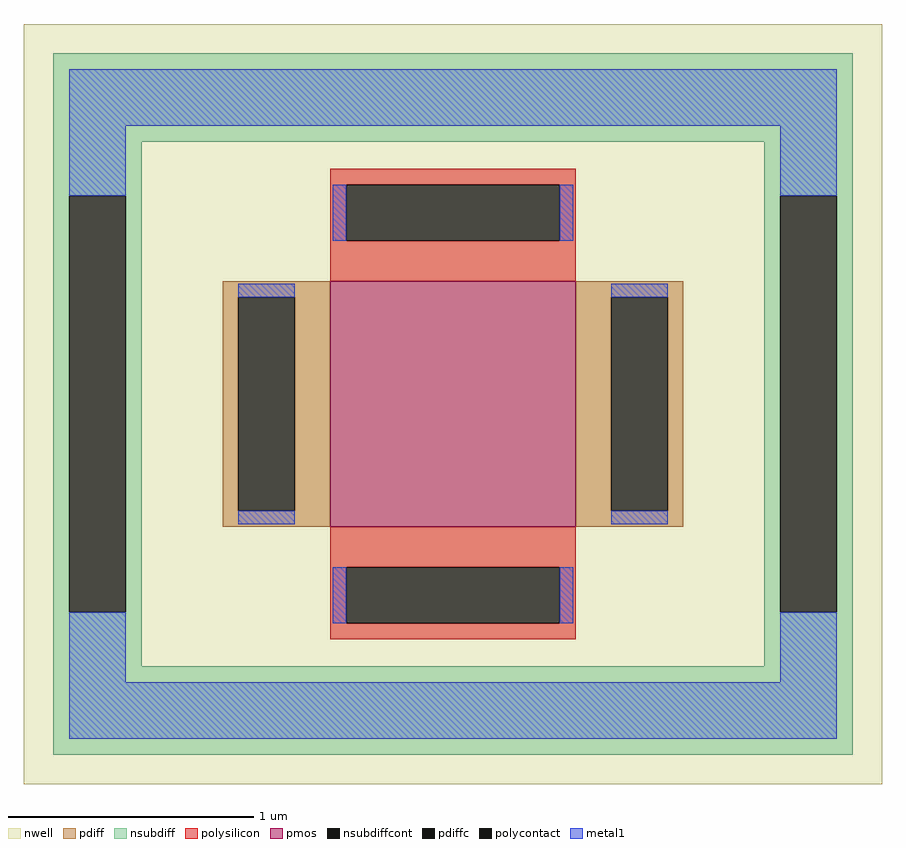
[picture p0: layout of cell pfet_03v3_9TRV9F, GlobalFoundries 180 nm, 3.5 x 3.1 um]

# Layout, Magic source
magic
tech gf180mcuD
magscale 1 10
<< nwell >>
rect -350 -310 350 310
<< pmos >>
rect -100 -100 100 100
<< pdiff >>
rect -188 87 -100 100
rect -188 -87 -175 87
rect -129 -87 -100 87
rect -188 -100 -100 -87
rect 100 87 188 100
rect 100 -87 129 87
rect 175 -87 188 87
rect 100 -100 188 -87
<< pdiffc >>
rect -175 -87 -129 87
rect 129 -87 175 87
<< nsubdiff >>
rect -326 214 326 286
rect -326 170 -254 214
rect -326 -170 -313 170
rect -267 -170 -254 170
rect 254 170 326 214
rect -326 -214 -254 -170
rect 254 -170 267 170
rect 313 -170 326 170
rect 254 -214 326 -170
rect -326 -286 326 -214
<< nsubdiffcont >>
rect -313 -170 -267 170
rect 267 -170 313 170
<< polysilicon >>
rect -100 179 100 192
rect -100 133 -87 179
rect 87 133 100 179
rect -100 100 100 133
rect -100 -133 100 -100
rect -100 -179 -87 -133
rect 87 -179 100 -133
rect -100 -192 100 -179
<< polycontact >>
rect -87 133 87 179
rect -87 -179 87 -133
<< metal1 >>
rect -313 227 313 273
rect -313 170 -267 227
rect -98 133 -87 179
rect 87 133 98 179
rect 267 170 313 227
rect -175 87 -129 98
rect -175 -98 -129 -87
rect 129 87 175 98
rect 129 -98 175 -87
rect -313 -227 -267 -170
rect -98 -179 -87 -133
rect 87 -179 98 -133
rect 267 -227 313 -170
rect -313 -273 313 -227
<< properties >>
string FIXED_BBOX -290 -250 290 250
string gencell pfet_03v3
string library gf180mcu
string parameters w 1.0 l 1.0 m 1 nf 1 diffcov 100 polycov 100 guard 1 glc 1 grc 1 gtc 0 gbc 0 tbcov 100 rlcov 100 topc 1 botc 1 poverlap 0 doverlap 1 lmin 0.28 wmin 0.22 class mosfet full_metal 1 compatible {pfet_03v3 pfet_05v0 pfet_06v0}
<< end >>
